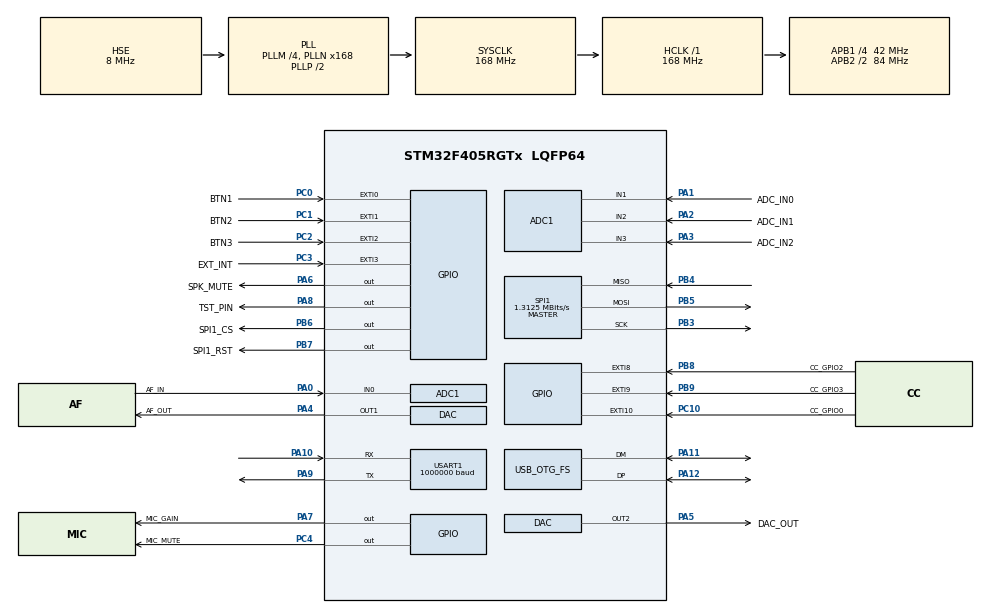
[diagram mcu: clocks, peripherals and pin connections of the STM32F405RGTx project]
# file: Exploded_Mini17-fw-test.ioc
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ADC1.Channel-0\#ChannelRegularConversion=ADC_CHANNEL_0
ADC1.NbrOfConversionFlag=1
ADC1.Rank-0\#ChannelRegularConversion=1
ADC1.SamplingTime-0\#ChannelRegularConversion=ADC_SAMPLETIME_3CYCLES
ADC1.master=1
Mcu.Family=STM32F4
Mcu.Name=STM32F405RGTx
Mcu.Package=LQFP64
NVIC.EXTI0_IRQn=true\:0\:0\:false\:false\:true\:true\:true\:true
NVIC.EXTI1_IRQn=true\:0\:0\:false\:false\:true\:true\:true\:true
NVIC.EXTI2_IRQn=true\:0\:0\:false\:false\:true\:true\:true\:true
NVIC.PriorityGroup=NVIC_PRIORITYGROUP_4
NVIC.TIM6_DAC_IRQn=true\:0\:0\:false\:false\:true\:true\:true\:true
NVIC.USART1_IRQn=true\:0\:0\:false\:false\:true\:true\:true\:true
PA0-WKUP.GPIO_Label=AF_IN
PA0-WKUP.Signal=ADCx_IN0
PA1.GPIO_Label=ADC_IN0
PA1.Signal=ADCx_IN1
PA10.Mode=Asynchronous
PA10.Signal=USART1_RX
PA11.Mode=Device_Only
PA11.Signal=USB_OTG_FS_DM
PA12.Mode=Device_Only
PA12.Signal=USB_OTG_FS_DP
PA13.Mode=Serial_Wire
PA13.Signal=SYS_JTMS-SWDIO
PA14.Mode=Serial_Wire
PA14.Signal=SYS_JTCK-SWCLK
PA2.GPIO_Label=ADC_IN1
PA2.Signal=ADCx_IN2
PA3.GPIO_Label=ADC_IN2
PA3.Signal=ADCx_IN3
PA4.GPIO_Label=AF_OUT
PA4.Signal=COMP_DAC1_group
PA5.GPIO_Label=DAC_OUT
PA5.Signal=COMP_DAC2_group
PA6.GPIO_Label=SPK_MUTE
PA6.PinState=GPIO_PIN_SET
PA6.Signal=GPIO_Output
PA7.GPIO_Label=MIC_GAIN
PA7.Signal=GPIO_Output
PA8.GPIO_Label=TST_PIN
PA8.GPIO_Speed=GPIO_SPEED_FREQ_VERY_HIGH
PA8.Signal=GPIO_Output
PA9.Mode=Asynchronous
PA9.Signal=USART1_TX
PB3.Mode=Full_Duplex_Master
PB3.Signal=SPI1_SCK
PB4.Mode=Full_Duplex_Master
PB4.Signal=SPI1_MISO
PB5.Mode=Full_Duplex_Master
PB5.Signal=SPI1_MOSI
PB6.GPIO_Label=SPI1_CS
PB6.GPIO_Speed=GPIO_SPEED_FREQ_VERY_HIGH
PB6.Signal=GPIO_Output
PB7.GPIO_Label=SPI1_RST
PB7.GPIO_Speed=GPIO_SPEED_FREQ_VERY_HIGH
PB7.Signal=GPIO_Output
PB8.GPIO_Label=CC_GPIO2
PB8.Signal=GPXTI8
PB9.GPIO_Label=CC_GPIO3
PB9.Signal=GPXTI9
PC0.GPIO_Label=BTN1
PC0.GPIO_ModeDefaultEXTI=GPIO_MODE_IT_FALLING
PC0.GPIO_PuPd=GPIO_NOPULL
PC0.Signal=GPXTI0
PC1.GPIO_Label=BTN2
PC1.GPIO_ModeDefaultEXTI=GPIO_MODE_IT_FALLING
PC1.GPIO_PuPd=GPIO_NOPULL
PC1.Signal=GPXTI1
PC10.GPIO_Label=CC_GPIO0
PC10.Signal=GPXTI10
PC2.GPIO_Label=BTN3
PC2.GPIO_ModeDefaultEXTI=GPIO_MODE_IT_FALLING
PC2.GPIO_PuPd=GPIO_NOPULL
PC2.Signal=GPXTI2
PC3.GPIO_Label=EXT_INT
PC3.GPIO_ModeDefaultEXTI=GPIO_MODE_IT_FALLING
PC3.GPIO_PuPd=GPIO_NOPULL
PC3.Signal=GPXTI3
PC4.GPIO_Label=MIC_MUTE
PC4.Signal=GPIO_Output
PH0-OSC_IN.Mode=HSE-External-Oscillator
PH0-OSC_IN.Signal=RCC_OSC_IN
PH1-OSC_OUT.Mode=HSE-External-Oscillator
PH1-OSC_OUT.Signal=RCC_OSC_OUT
ProjectManager.HeapSize=0x200
ProjectManager.StackSize=0x400
ProjectManager.TargetToolchain=STM32CubeIDE
RCC.48MHZClocksFreq_Value=48000000
RCC.AHBFreq_Value=168000000
RCC.APB1CLKDivider=RCC_HCLK_DIV4
RCC.APB1Freq_Value=42000000
RCC.APB1TimFreq_Value=84000000
RCC.APB2CLKDivider=RCC_HCLK_DIV2
RCC.APB2Freq_Value=84000000
RCC.APB2TimFreq_Value=168000000
RCC.CortexFreq_Value=168000000
RCC.HCLKFreq_Value=168000000
RCC.HSE_VALUE=8000000
RCC.HSI_VALUE=16000000
RCC.LSE_VALUE=32768
RCC.PLLM=4
RCC.PLLN=168
RCC.PLLQ=7
RCC.SYSCLKFreq_VALUE=168000000
RCC.SYSCLKSource=RCC_SYSCLKSOURCE_PLLCLK
RCC.VCOOutputFreq_Value=336000000
SH.ADCx_IN0.0=ADC1_IN0,IN0
SH.ADCx_IN1.0=ADC1_IN1,IN1
SH.ADCx_IN2.0=ADC1_IN2,IN2
SH.ADCx_IN3.0=ADC1_IN3,IN3
SH.COMP_DAC1_group.0=DAC_OUT1,DAC_OUT1
SH.COMP_DAC2_group.0=DAC_OUT2,DAC_OUT2
SPI1.BaudRatePrescaler=SPI_BAUDRATEPRESCALER_64
SPI1.CalculateBaudRate=1.3125 MBits/s
SPI1.Direction=SPI_DIRECTION_2LINES
SPI1.Mode=SPI_MODE_MASTER
SPI1.VirtualType=VM_MASTER
TIM6.Period=3499
TIM6.TIM_MasterOutputTrigger=TIM_TRGO_UPDATE
USART1.BaudRate=1000000
USART1.VirtualMode=VM_ASYNC
USB_OTG_FS.VirtualMode=Device_Only
VP_TIM6_VS_ClockSourceINT.Mode=Enable_Timer
board=custom

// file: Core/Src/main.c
/* USER CODE BEGIN Header */
/**
  ******************************************************************************
  * @file           : main.c
  * @brief          : Main program body
  ******************************************************************************
  * @attention
  *
  * Copyright (c) 2022 STMicroelectronics.
  * All rights reserved.
  *
  * This software is licensed under terms that can be found in the LICENSE file
  * in the root directory of this software component.
  * If no LICENSE file comes with this software, it is provided AS-IS.
  *
  ******************************************************************************
  */
/* USER CODE END Header */
#include "main.h"

/* USER CODE BEGIN Includes */
#include "stream.h"
#include <m17.h>
/* USER CODE END Includes */

/* USER CODE BEGIN PD */
#define CC1200_REG_NUM		51
/* USER CODE END PD */

ADC_HandleTypeDef hadc1;

DAC_HandleTypeDef hdac;

SPI_HandleTypeDef hspi1;

TIM_HandleTypeDef htim6;

UART_HandleTypeDef huart1;

PCD_HandleTypeDef hpcd_USB_OTG_FS;

/* USER CODE BEGIN PV */
uint8_t cc1200_rx_settings[CC1200_REG_NUM*3] =
{
	0x00, 0x01, 0x08,
	0x00, 0x03, 0x09,
	0x00, 0x08, 0x1F,
	0x00, 0x0A, 0xAD, //deviation - a little bit under 3.3kHz full scale
	0x00, 0x0B, 0x00, //deviation
	0x00, 0x0C, 0x5D,
	0x00, 0x0D, 0x00,
	0x00, 0x0E, 0x8A,
	0x00, 0x0F, 0xCB,
	0x00, 0x10, 0xAC, //RX filter BW - 9.5kHz
	0x00, 0x11, 0x00,
	0x00, 0x12, 0x45,
	0x00, 0x13, 0x43, //symbol rate 2 - 1.5k sym/s
	0x00, 0x14, 0xA9, //symbol rate 1
	0x00, 0x15, 0x2A, //symbol rate 0
	0x00, 0x16, 0x37, //AGC_REF - AGC Reference Level Configuration
	0x00, 0x17, 0xEC,
	0x00, 0x19, 0x11,
	0x00, 0x1B, 0x51,
	0x00, 0x1C, 0x87,
	0x00, 0x1D, 0x00,
	0x00, 0x20, 0x14,
	0x00, 0x26, 0x03,
	0x00, 0x27, 0x00,
	0x00, 0x28, 0x20,
	0x00, 0x2B, 0x03, //output power - 0x03..0x3F (doesn't matter for RX)
	0x00, 0x2E, 0xFF,
	0x2F, 0x00, 0x1C,
	0x2F, 0x01, 0x02, //AFC, 0x22 - on, 0x02 - off
	0x2F, 0x04, 0x0C, //external oscillator's frequency is 40 MHz
	0x2F, 0x05, 0x09, //16x upsampler, CFM enable
	0x2F, 0x0C, 0x57, //frequency - round((float)435000000/5000000*(1<<16))=0x570000
	0x2F, 0x0D, 0x00, //frequency
	0x2F, 0x0E, 0x00, //frequency
	0x2F, 0x10, 0xEE,
	0x2F, 0x11, 0x10,
	0x2F, 0x12, 0x07,
	0x2F, 0x13, 0xAF,
	0x2F, 0x16, 0x40,
	0x2F, 0x17, 0x0E,
	0x2F, 0x19, 0x03,
	0x2F, 0x1B, 0x33,
	0x2F, 0x1D, 0x17,
	0x2F, 0x1F, 0x00,
	0x2F, 0x20, 0x6E,
	0x2F, 0x21, 0x1C,
	0x2F, 0x22, 0xAC,
	0x2F, 0x27, 0xB5,
	0x2F, 0x32, 0x0E,
	0x2F, 0x36, 0x03,
	0x2F, 0x91, 0x08
};

uint8_t cc1200_tx_settings[CC1200_REG_NUM*3] =
{
	0x00, 0x01, 0x08,
	0x00, 0x03, 0x09,
	0x00, 0x08, 0x1F,
	0x00, 0x0A, 0xAD, //deviation - a little bit under 3.3kHz full scale
	0x00, 0x0B, 0x00, //deviation
	0x00, 0x0C, 0x5D,
	0x00, 0x0D, 0x00,
	0x00, 0x0E, 0x8A,
	0x00, 0x0F, 0xCB,
	0x00, 0x10, 0xAC, //RX filter BW - 9.5kHz (doesn't matter for TX)
	0x00, 0x11, 0x00,
	0x00, 0x12, 0x45,
	0x00, 0x13, 0x43, //symbol rate 2 - 1.5k symb/s
	0x00, 0x14, 0xA9, //symbol rate 1
	0x00, 0x15, 0x2A, //symbol rate 0
	0x00, 0x16, 0x37,
	0x00, 0x17, 0xEC,
	0x00, 0x19, 0x11,
	0x00, 0x1B, 0x51,
	0x00, 0x1C, 0x87,
	0x00, 0x1D, 0x00,
	0x00, 0x20, 0x14,
	0x00, 0x26, 0x03,
	0x00, 0x27, 0x00,
	0x00, 0x28, 0x20,
	0x00, 0x2B, 0x03, //output power - 0x03..0x3F
	0x00, 0x2E, 0xFF,
	0x2F, 0x00, 0x1C,
	0x2F, 0x01, 0x22,
	0x2F, 0x04, 0x0C, //external oscillator's frequency is 40 MHz
	0x2F, 0x05, 0x09, //16x upsampler, CFM enable
	0x2F, 0x0C, 0x57, //frequency - round((float)435000000/5000000*(1<<16))=0x570000
	0x2F, 0x0D, 0x00, //frequency
	0x2F, 0x0E, 0x00, //frequency
	0x2F, 0x10, 0xEE,
	0x2F, 0x11, 0x10,
	0x2F, 0x12, 0x07,
	0x2F, 0x13, 0xAF,
	0x2F, 0x16, 0x40,
	0x2F, 0x17, 0x0E,
	0x2F, 0x19, 0x03,
	0x2F, 0x1B, 0x33,
	0x2F, 0x1D, 0x17,
	0x2F, 0x1F, 0x00,
	0x2F, 0x20, 0x6E,
	0x2F, 0x21, 0x1C,
	0x2F, 0x22, 0xAC,
	0x2F, 0x27, 0xB5,
	0x2F, 0x32, 0x0E,
	0x2F, 0x36, 0x03,
	0x2F, 0x91, 0x08
};

uint8_t tx_data[8];
uint8_t rx_data[3]={0,0,0};

volatile uint8_t irq_pend=0;	//baseband sample IRQ
volatile uint8_t mode=0;		//0 - RX, 1- TX

float buff[81];			//look-back buffer for the FIR
uint8_t pushed=0;		//how many samples have we pushed to the buffer
float mac;				//multiply-accumulate result
int8_t sample=0;		//sample value, calculated

uint16_t byte=0;		//byte read from the stream
uint8_t dibit=6;		//dibit ^^ (MSB pair first)
/* USER CODE END PV */

void SystemClock_Config(void);
static void MX_GPIO_Init(void);
static void MX_ADC1_Init(void);
static void MX_DAC_Init(void);
static void MX_SPI1_Init(void);
static void MX_USB_OTG_FS_PCD_Init(void);
static void MX_TIM6_Init(void);
static void MX_USART1_UART_Init(void);

/* USER CODE BEGIN 0 */
void HAL_TIM_PeriodElapsedCallback(TIM_HandleTypeDef *htim)
{
	//HAL_GPIO_TogglePin(TST_PIN_GPIO_Port, TST_PIN_Pin);
	irq_pend=1;
}

void HAL_GPIO_EXTI_Callback(uint16_t GPIO_Pin)
{
	//BTN1
	if(GPIO_Pin==GPIO_PIN_0)
	{
		HAL_GPIO_TogglePin(MIC_MUTE_GPIO_Port, MIC_MUTE_Pin);
	}

	//BTN2
	else if(GPIO_Pin==GPIO_PIN_1)
	{
		HAL_GPIO_TogglePin(SPK_MUTE_GPIO_Port, SPK_MUTE_Pin);
	}

	//BTN3
	else if(GPIO_Pin==GPIO_PIN_2)
	{
		HAL_GPIO_TogglePin(TST_PIN_GPIO_Port, TST_PIN_Pin);
	}
}

void CC1200_Reset(void)
{
	HAL_GPIO_WritePin(SPI1_RST_GPIO_Port, SPI1_RST_Pin, 0);
	HAL_Delay(50);
	HAL_GPIO_WritePin(SPI1_RST_GPIO_Port, SPI1_RST_Pin, 1);
	HAL_Delay(50);

	tx_data[0]=0x30;
	HAL_GPIO_WritePin(SPI1_CS_GPIO_Port, SPI1_CS_Pin, 0);
	HAL_SPI_Transmit(&hspi1, tx_data, 1, 5);
	HAL_GPIO_WritePin(SPI1_CS_GPIO_Port, SPI1_CS_Pin, 1);
}

void CC1200_Init(uint8_t *init_seq)
{
	for(uint8_t i=0; i<CC1200_REG_NUM; i++)
	{
		  HAL_GPIO_WritePin(SPI1_CS_GPIO_Port, SPI1_CS_Pin, 0);
		  if(init_seq[i*3])
			  HAL_SPI_Transmit(&hspi1, &init_seq[i*3], 3, 100);
		  else
			  HAL_SPI_Transmit(&hspi1, &init_seq[i*3+1], 2, 100);
		  HAL_GPIO_WritePin(SPI1_CS_GPIO_Port, SPI1_CS_Pin, 1);
		  HAL_Delay(10);
	}
}

void CC1200_Offset(int16_t offset)
{
	tx_data[0]=0x2F|0x40;
	tx_data[1]=0x0A;
	tx_data[2]=*((uint8_t*)&offset+1);
	tx_data[3]=*((uint8_t*)&offset);

	HAL_GPIO_WritePin(SPI1_CS_GPIO_Port, SPI1_CS_Pin, 0);
	HAL_SPI_Transmit(&hspi1, tx_data, 4, 10);
	HAL_GPIO_WritePin(SPI1_CS_GPIO_Port, SPI1_CS_Pin, 1);
}

void CC1200_BurstModeIncr(uint8_t enable)
{
	tx_data[0]=0x2F;
	tx_data[1]=0x06;
	tx_data[2]=enable;

	HAL_GPIO_WritePin(SPI1_CS_GPIO_Port, SPI1_CS_Pin, 0);
	HAL_SPI_Transmit(&hspi1, tx_data, 3, 10);
	HAL_GPIO_WritePin(SPI1_CS_GPIO_Port, SPI1_CS_Pin, 1);
}

void CC1200_RXMode(void)
{
	tx_data[0]=0x34;
	HAL_GPIO_WritePin(SPI1_CS_GPIO_Port, SPI1_CS_Pin, 0);
	HAL_SPI_Transmit(&hspi1, tx_data, 1, 100);
	HAL_GPIO_WritePin(SPI1_CS_GPIO_Port, SPI1_CS_Pin, 1);
}

void CC1200_TXMode(void)
{
	tx_data[0]=0x35;
	HAL_GPIO_WritePin(SPI1_CS_GPIO_Port, SPI1_CS_Pin, 0);
	HAL_SPI_Transmit(&hspi1, tx_data, 1, 100);
	HAL_GPIO_WritePin(SPI1_CS_GPIO_Port, SPI1_CS_Pin, 1);
}

void CC1200_RXStart(void)
{
	tx_data[0]=0x2F|0xC0;
	tx_data[1]=0x7D;
	tx_data[2]=0;

	HAL_GPIO_WritePin(SPI1_CS_GPIO_Port, SPI1_CS_Pin, 0);
	HAL_SPI_TransmitReceive(&hspi1, tx_data, rx_data, 3, 10);
}
void CC1200_TXStart(void)
{
	tx_data[0]=0x2F|0x40;
	tx_data[1]=0x7E;
	tx_data[2]=0;

	HAL_GPIO_WritePin(SPI1_CS_GPIO_Port, SPI1_CS_Pin, 0);
	HAL_SPI_TransmitReceive(&hspi1, tx_data, rx_data, 3, 10);
}

void CC1200_TXRXEnd(void)
{
	HAL_GPIO_WritePin(SPI1_CS_GPIO_Port, SPI1_CS_Pin, 1);
}

//set frequency - burst mode
void CC1200_SetFreq(uint32_t freq)
{
	uint32_t val=(float)freq/5000000*(1<<16);

	tx_data[0]=0x2F|0x40;
	tx_data[1]=0x0C;
	tx_data[2]=(val>>16)&0xFF;
	tx_data[3]=(val>>8)&0xFF;
	tx_data[4]=val&0xFF;

	HAL_GPIO_WritePin(SPI1_CS_GPIO_Port, SPI1_CS_Pin, 0);
	HAL_SPI_Transmit(&hspi1, tx_data, 5, 10);
	HAL_GPIO_WritePin(SPI1_CS_GPIO_Port, SPI1_CS_Pin, 1);
}

//set power (0x01..0x3F)
void CC1200_SetPwr(uint8_t pwr)
{
	tx_data[0]=0x2B;
	tx_data[1]=pwr;

	HAL_GPIO_WritePin(SPI1_CS_GPIO_Port, SPI1_CS_Pin, 0);
	HAL_SPI_Transmit(&hspi1, tx_data, 2, 10);
	HAL_GPIO_WritePin(SPI1_CS_GPIO_Port, SPI1_CS_Pin, 1);
}
/* USER CODE END 0 */

int main(void)
{

  /* MCU Configuration--------------------------------------------------------*/

  /* Reset of all peripherals, Initializes the Flash interface and the Systick. */
  HAL_Init();

  /* Configure the system clock */
  SystemClock_Config();

  /* Initialize all configured peripherals */
  MX_GPIO_Init();
  MX_ADC1_Init();
  MX_DAC_Init();
  MX_SPI1_Init();
  MX_USB_OTG_FS_PCD_Init();
  MX_TIM6_Init();
  MX_USART1_UART_Init();
  /* USER CODE BEGIN 2 */
  HAL_Delay(100);

  //chip reset
  CC1200_Reset();
  HAL_Delay(100);

  //TX/RX mode, 0 - RX, 1- TX
  mode=0;

  //chip config
  //CC1200_Init(cc1200_tx_settings);
  CC1200_Init((uint8_t*)cc1200_rx_settings);

  //frequency - override the setting in the init sequence
  CC1200_SetFreq(439950000);

  //power - override the setting in the init sequence
  CC1200_SetPwr(0x3C);

  //freq offset compensation
  CC1200_Offset(303);
  HAL_Delay(10);

  //mode - TX/RX
  //CC1200_TXMode();
  CC1200_RXMode();

  //dont increment address in burst mode
  CC1200_BurstModeIncr(0);

  //start write/read burst - tx/rx reg
  //CC1200_TXStart();
  CC1200_RXStart();

  HAL_TIM_Base_Start_IT(&htim6);
  /* USER CODE END 2 */

  /* Infinite loop */
  /* USER CODE BEGIN WHILE */
  while (1)
  {

	  if(irq_pend)
	  {
		  if(mode)//TX
		  {
			  //do the filtering here
			  for(uint8_t i=0; i<41-1; i++)
				  buff[i]=buff[i+1];
			  pushed++;
			  pushed%=5;
			  if(pushed==0)
			  {
				  uint8_t s=(m17_stream[byte]>>dibit)&3;

				  if(s == 0b00)
					  buff[40]=1.0;
				  else if(s == 0b01)
					  buff[40]=3.0;
				  else if(s == 0b10)
					  buff[40]=-1.0;
				  else
					  buff[40]=-3.0;

				  if(dibit>0)
					  dibit-=2;
				  else
				  {
					  dibit=6;
					  byte++;
				  }

				  if(byte==STREAM_SIZE)
					  byte=0;
			  }
			  else
			  {
				  buff[40]=0.0;
			  }

			  mac=0.0;
			  for(uint8_t i=0; i<41; i++)
				  mac+=buff[i]*taps2[i];

			  sample=mac*40.0;

			  HAL_SPI_Transmit(&hspi1, (uint8_t*)&sample, 1, 5);
			  //HAL_UART_Transmit_IT(&huart1, (uint8_t*)&sample, 1);
		  }
		  else //RX
		  {
			  HAL_SPI_TransmitReceive(&hspi1, tx_data, rx_data, 1, 10);
			  //uint16_t s=((int8_t)rx_data[0]+128);
			  //HAL_DAC_SetValue(&hdac, DAC_CHANNEL_1, DAC_ALIGN_12B_R, s);
			  //HAL_DAC_Start(&hdac, DAC_CHANNEL_1);
		  	  HAL_UART_Transmit_IT(&huart1, rx_data, 1);
		  }

		  irq_pend=0;
	  }
    /* USER CODE END WHILE */

  }
}

void SystemClock_Config(void)
{
  RCC_OscInitTypeDef RCC_OscInitStruct = {0};
  RCC_ClkInitTypeDef RCC_ClkInitStruct = {0};

  /** Configure the main internal regulator output voltage
  */
  __HAL_RCC_PWR_CLK_ENABLE();
  __HAL_PWR_VOLTAGESCALING_CONFIG(PWR_REGULATOR_VOLTAGE_SCALE1);

  /** Initializes the RCC Oscillators according to the specified parameters
  * in the RCC_OscInitTypeDef structure.
  */
  RCC_OscInitStruct.OscillatorType = RCC_OSCILLATORTYPE_HSE;
  RCC_OscInitStruct.HSEState = RCC_HSE_ON;
  RCC_OscInitStruct.PLL.PLLState = RCC_PLL_ON;
  RCC_OscInitStruct.PLL.PLLSource = RCC_PLLSOURCE_HSE;
  RCC_OscInitStruct.PLL.PLLM = 4;
  RCC_OscInitStruct.PLL.PLLN = 168;
  RCC_OscInitStruct.PLL.PLLP = RCC_PLLP_DIV2;
  RCC_OscInitStruct.PLL.PLLQ = 7;
  if (HAL_RCC_OscConfig(&RCC_OscInitStruct) != HAL_OK)
  {
    Error_Handler();
  }

  /** Initializes the CPU, AHB and APB buses clocks
  */
  RCC_ClkInitStruct.ClockType = RCC_CLOCKTYPE_HCLK|RCC_CLOCKTYPE_SYSCLK
                              |RCC_CLOCKTYPE_PCLK1|RCC_CLOCKTYPE_PCLK2;
  RCC_ClkInitStruct.SYSCLKSource = RCC_SYSCLKSOURCE_PLLCLK;
  RCC_ClkInitStruct.AHBCLKDivider = RCC_SYSCLK_DIV1;
  RCC_ClkInitStruct.APB1CLKDivider = RCC_HCLK_DIV4;
  RCC_ClkInitStruct.APB2CLKDivider = RCC_HCLK_DIV2;

  if (HAL_RCC_ClockConfig(&RCC_ClkInitStruct, FLASH_LATENCY_5) != HAL_OK)
  {
    Error_Handler();
  }
}

static void MX_ADC1_Init(void)
{

  ADC_ChannelConfTypeDef sConfig = {0};

  /** Configure the global features of the ADC (Clock, Resolution, Data Alignment and number of conversion)
  */
  hadc1.Instance = ADC1;
  hadc1.Init.ClockPrescaler = ADC_CLOCK_SYNC_PCLK_DIV4;
  hadc1.Init.Resolution = ADC_RESOLUTION_12B;
  hadc1.Init.ScanConvMode = DISABLE;
  hadc1.Init.ContinuousConvMode = DISABLE;
  hadc1.Init.DiscontinuousConvMode = DISABLE;
  hadc1.Init.ExternalTrigConvEdge = ADC_EXTERNALTRIGCONVEDGE_NONE;
  hadc1.Init.ExternalTrigConv = ADC_SOFTWARE_START;
  hadc1.Init.DataAlign = ADC_DATAALIGN_RIGHT;
  hadc1.Init.NbrOfConversion = 1;
  hadc1.Init.DMAContinuousRequests = DISABLE;
  hadc1.Init.EOCSelection = ADC_EOC_SINGLE_CONV;
  if (HAL_ADC_Init(&hadc1) != HAL_OK)
  {
    Error_Handler();
  }

  /** Configure for the selected ADC regular channel its corresponding rank in the sequencer and its sample time.
  */
  sConfig.Channel = ADC_CHANNEL_0;
  sConfig.Rank = 1;
  sConfig.SamplingTime = ADC_SAMPLETIME_3CYCLES;
  if (HAL_ADC_ConfigChannel(&hadc1, &sConfig) != HAL_OK)
  {
    Error_Handler();
  }

}

static void MX_DAC_Init(void)
{

  DAC_ChannelConfTypeDef sConfig = {0};

  /** DAC Initialization
  */
  hdac.Instance = DAC;
  if (HAL_DAC_Init(&hdac) != HAL_OK)
  {
    Error_Handler();
  }

  /** DAC channel OUT1 config
  */
  sConfig.DAC_Trigger = DAC_TRIGGER_NONE;
  sConfig.DAC_OutputBuffer = DAC_OUTPUTBUFFER_ENABLE;
  if (HAL_DAC_ConfigChannel(&hdac, &sConfig, DAC_CHANNEL_1) != HAL_OK)
  {
    Error_Handler();
  }

  /** DAC channel OUT2 config
  */
  if (HAL_DAC_ConfigChannel(&hdac, &sConfig, DAC_CHANNEL_2) != HAL_OK)
  {
    Error_Handler();
  }

}

static void MX_SPI1_Init(void)
{

  /* SPI1 parameter configuration*/
  hspi1.Instance = SPI1;
  hspi1.Init.Mode = SPI_MODE_MASTER;
  hspi1.Init.Direction = SPI_DIRECTION_2LINES;
  hspi1.Init.DataSize = SPI_DATASIZE_8BIT;
  hspi1.Init.CLKPolarity = SPI_POLARITY_LOW;
  hspi1.Init.CLKPhase = SPI_PHASE_1EDGE;
  hspi1.Init.NSS = SPI_NSS_SOFT;
  hspi1.Init.BaudRatePrescaler = SPI_BAUDRATEPRESCALER_64;
  hspi1.Init.FirstBit = SPI_FIRSTBIT_MSB;
  hspi1.Init.TIMode = SPI_TIMODE_DISABLE;
  hspi1.Init.CRCCalculation = SPI_CRCCALCULATION_DISABLE;
  hspi1.Init.CRCPolynomial = 10;
  if (HAL_SPI_Init(&hspi1) != HAL_OK)
  {
    Error_Handler();
  }

}

static void MX_TIM6_Init(void)
{

  TIM_MasterConfigTypeDef sMasterConfig = {0};

  htim6.Instance = TIM6;
  htim6.Init.Prescaler = 0;
  htim6.Init.CounterMode = TIM_COUNTERMODE_UP;
  htim6.Init.Period = 3499;
  htim6.Init.AutoReloadPreload = TIM_AUTORELOAD_PRELOAD_DISABLE;
  if (HAL_TIM_Base_Init(&htim6) != HAL_OK)
  {
    Error_Handler();
  }
  sMasterConfig.MasterOutputTrigger = TIM_TRGO_UPDATE;
  sMasterConfig.MasterSlaveMode = TIM_MASTERSLAVEMODE_DISABLE;
  if (HAL_TIMEx_MasterConfigSynchronization(&htim6, &sMasterConfig) != HAL_OK)
  {
    Error_Handler();
  }

}

static void MX_USART1_UART_Init(void)
{

  huart1.Instance = USART1;
  huart1.Init.BaudRate = 1000000;
  huart1.Init.WordLength = UART_WORDLENGTH_8B;
  huart1.Init.StopBits = UART_STOPBITS_1;
  huart1.Init.Parity = UART_PARITY_NONE;
  huart1.Init.Mode = UART_MODE_TX_RX;
  huart1.Init.HwFlowCtl = UART_HWCONTROL_NONE;
  huart1.Init.OverSampling = UART_OVERSAMPLING_16;
  if (HAL_UART_Init(&huart1) != HAL_OK)
  {
    Error_Handler();
  }

}

static void MX_USB_OTG_FS_PCD_Init(void)
{

  hpcd_USB_OTG_FS.Instance = USB_OTG_FS;
  hpcd_USB_OTG_FS.Init.dev_endpoints = 4;
  hpcd_USB_OTG_FS.Init.speed = PCD_SPEED_FULL;
  hpcd_USB_OTG_FS.Init.dma_enable = DISABLE;
  hpcd_USB_OTG_FS.Init.phy_itface = PCD_PHY_EMBEDDED;
  hpcd_USB_OTG_FS.Init.Sof_enable = DISABLE;
  hpcd_USB_OTG_FS.Init.low_power_enable = DISABLE;
  hpcd_USB_OTG_FS.Init.lpm_enable = DISABLE;
  hpcd_USB_OTG_FS.Init.vbus_sensing_enable = DISABLE;
  hpcd_USB_OTG_FS.Init.use_dedicated_ep1 = DISABLE;
  if (HAL_PCD_Init(&hpcd_USB_OTG_FS) != HAL_OK)
  {
    Error_Handler();
  }

}

static void MX_GPIO_Init(void)
{
  GPIO_InitTypeDef GPIO_InitStruct = {0};

  /* GPIO Ports Clock Enable */
  __HAL_RCC_GPIOH_CLK_ENABLE();
  __HAL_RCC_GPIOC_CLK_ENABLE();
  __HAL_RCC_GPIOA_CLK_ENABLE();
  __HAL_RCC_GPIOB_CLK_ENABLE();

  /*Configure GPIO pin Output Level */
  HAL_GPIO_WritePin(SPK_MUTE_GPIO_Port, SPK_MUTE_Pin, GPIO_PIN_SET);

  /*Configure GPIO pin Output Level */
  HAL_GPIO_WritePin(GPIOA, MIC_GAIN_Pin|TST_PIN_Pin, GPIO_PIN_RESET);

  /*Configure GPIO pin Output Level */
  HAL_GPIO_WritePin(MIC_MUTE_GPIO_Port, MIC_MUTE_Pin, GPIO_PIN_RESET);

  /*Configure GPIO pin Output Level */
  HAL_GPIO_WritePin(GPIOB, SPI1_CS_Pin|SPI1_RST_Pin, GPIO_PIN_RESET);

  /*Configure GPIO pins : BTN1_Pin BTN2_Pin BTN3_Pin EXT_INT_Pin */
  GPIO_InitStruct.Pin = BTN1_Pin|BTN2_Pin|BTN3_Pin|EXT_INT_Pin;
  GPIO_InitStruct.Mode = GPIO_MODE_IT_FALLING;
  GPIO_InitStruct.Pull = GPIO_NOPULL;
  HAL_GPIO_Init(GPIOC, &GPIO_InitStruct);

  /*Configure GPIO pins : SPK_MUTE_Pin MIC_GAIN_Pin */
  GPIO_InitStruct.Pin = SPK_MUTE_Pin|MIC_GAIN_Pin;
  GPIO_InitStruct.Mode = GPIO_MODE_OUTPUT_PP;
  GPIO_InitStruct.Pull = GPIO_NOPULL;
  GPIO_InitStruct.Speed = GPIO_SPEED_FREQ_LOW;
  HAL_GPIO_Init(GPIOA, &GPIO_InitStruct);

  /*Configure GPIO pin : MIC_MUTE_Pin */
  GPIO_InitStruct.Pin = MIC_MUTE_Pin;
  GPIO_InitStruct.Mode = GPIO_MODE_OUTPUT_PP;
  GPIO_InitStruct.Pull = GPIO_NOPULL;
  GPIO_InitStruct.Speed = GPIO_SPEED_FREQ_LOW;
  HAL_GPIO_Init(MIC_MUTE_GPIO_Port, &GPIO_InitStruct);

  /*Configure GPIO pin : TST_PIN_Pin */
  GPIO_InitStruct.Pin = TST_PIN_Pin;
  GPIO_InitStruct.Mode = GPIO_MODE_OUTPUT_PP;
  GPIO_InitStruct.Pull = GPIO_NOPULL;
  GPIO_InitStruct.Speed = GPIO_SPEED_FREQ_VERY_HIGH;
  HAL_GPIO_Init(TST_PIN_GPIO_Port, &GPIO_InitStruct);

  /*Configure GPIO pin : CC_GPIO0_Pin */
  GPIO_InitStruct.Pin = CC_GPIO0_Pin;
  GPIO_InitStruct.Mode = GPIO_MODE_IT_RISING;
  GPIO_InitStruct.Pull = GPIO_NOPULL;
  HAL_GPIO_Init(CC_GPIO0_GPIO_Port, &GPIO_InitStruct);

  /*Configure GPIO pins : SPI1_CS_Pin SPI1_RST_Pin */
  GPIO_InitStruct.Pin = SPI1_CS_Pin|SPI1_RST_Pin;
  GPIO_InitStruct.Mode = GPIO_MODE_OUTPUT_PP;
  GPIO_InitStruct.Pull = GPIO_NOPULL;
  GPIO_InitStruct.Speed = GPIO_SPEED_FREQ_VERY_HIGH;
  HAL_GPIO_Init(GPIOB, &GPIO_InitStruct);

  /*Configure GPIO pins : CC_GPIO2_Pin CC_GPIO3_Pin */
  GPIO_InitStruct.Pin = CC_GPIO2_Pin|CC_GPIO3_Pin;
  GPIO_InitStruct.Mode = GPIO_MODE_IT_RISING;
  GPIO_InitStruct.Pull = GPIO_NOPULL;
  HAL_GPIO_Init(GPIOB, &GPIO_InitStruct);

  /* EXTI interrupt init*/
  HAL_NVIC_SetPriority(EXTI0_IRQn, 0, 0);
  HAL_NVIC_EnableIRQ(EXTI0_IRQn);

  HAL_NVIC_SetPriority(EXTI1_IRQn, 0, 0);
  HAL_NVIC_EnableIRQ(EXTI1_IRQn);

  HAL_NVIC_SetPriority(EXTI2_IRQn, 0, 0);
  HAL_NVIC_EnableIRQ(EXTI2_IRQn);

}

void Error_Handler(void)
{
  __disable_irq();
  while (1)
  {
  }
}
